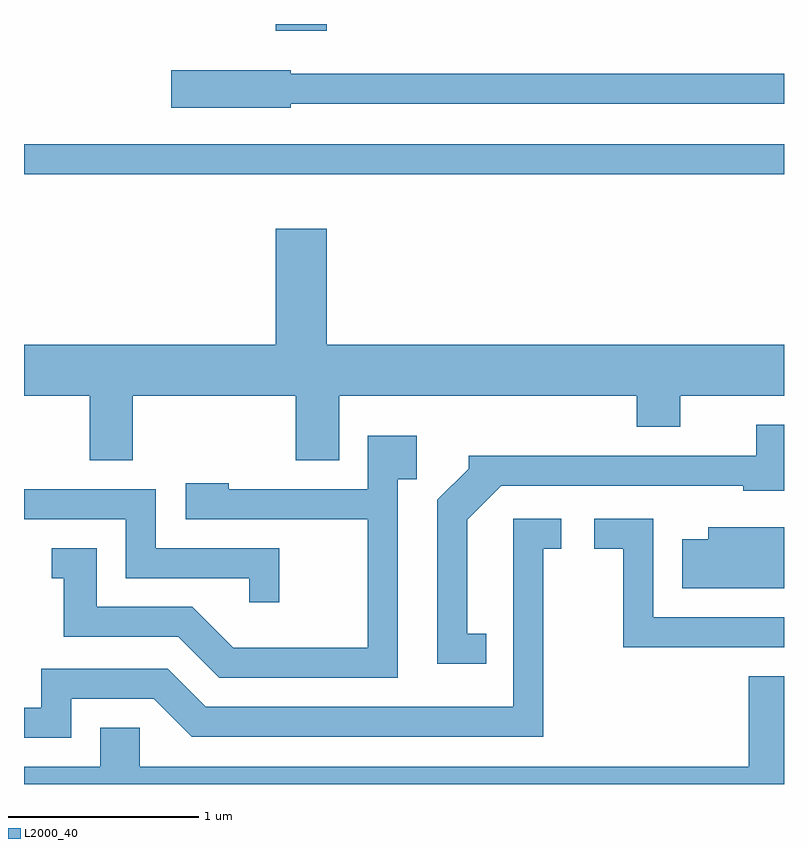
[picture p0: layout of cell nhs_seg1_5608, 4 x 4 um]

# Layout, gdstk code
import gdstk
lib = gdstk.Library(unit=1e-6, precision=1e-09)
def R(c, l, rs):  # rectangles x0, y0, x1, y1
    for r in rs: c.add(gdstk.rectangle(r[:2], r[2:], *l))
def P(c, l, *ps):  # polygons
    for p in ps: c.add(gdstk.Polygon(p, *l))
L2000_40 = (2000, 40)

nhs_seg1_5608 = lib.new_cell('nhs_seg1_5608')
R(nhs_seg1_5608, L2000_40, [(353.611,942.921,357.611,943.079), (354.936,943.676,355.204,943.712)])
P(nhs_seg1_5608, L2000_40, [(355.014,943.291),(357.611,943.291),(357.611,943.449),(355.014,943.449),(355.014,943.469),(354.386,943.469),(354.386,943.271),(355.014,943.271)],
  [(354.184,941.756),(355.041,941.756),(355.041,941.416),(355.269,941.416),(355.269,941.756),(356.836,941.756),(356.836,941.591),(357.064,941.591),(357.064,941.756),(357.611,941.756),(357.611,942.024),(355.204,942.024),(355.204,942.634),(354.936,942.634),(354.936,942.024),(353.611,942.024),(353.611,941.756),(353.956,941.756),(353.956,941.416),(354.184,941.416)],
  [(356.043,940.504),(355.944,940.504),(355.944,941.104),(356.122,941.281),(357.396,941.281),(357.396,941.256),(357.611,941.256),(357.611,941.604),(357.466,941.604),(357.466,941.439),(355.951,941.439),(355.951,941.372),(355.786,941.207),(355.786,940.346),(356.043,940.346)],
  [(355.579,941.316),(355.679,941.316),(355.679,941.544),(355.421,941.544),(355.421,941.264),(354.689,941.264),(354.689,941.294),(354.461,941.294),(354.461,941.106),(355.421,941.106),(355.421,940.429),(354.712,940.429),(354.497,940.644),(353.994,940.644),(353.994,940.954),(353.758,940.954),(353.758,940.796),(353.821,940.796),(353.821,940.486),(354.424,940.486),(354.639,940.271),(355.579,940.271)],
  [(354.954,940.954),(354.304,940.954),(354.304,941.264),(353.611,941.264),(353.611,941.106),(354.146,941.106),(354.146,940.796),(354.796,940.796),(354.796,940.668),(354.954,940.668)],
  [(353.859,940.161),(354.294,940.161),(354.494,939.961),(356.344,939.961),(356.344,940.951),(356.438,940.951),(356.438,941.109),(356.186,941.109),(356.186,940.119),(354.567,940.119),(354.367,940.319),(353.701,940.319),(353.701,940.114),(353.611,940.114),(353.611,939.956),(353.859,939.956)],
  [(357.611,940.589),(356.924,940.589),(356.924,941.109),(356.613,941.109),(356.613,940.951),(356.766,940.951),(356.766,940.431),(357.611,940.431)],
  [(357.611,941.064),(357.211,941.064),(357.211,940.999),(357.076,940.999),(357.076,940.741),(357.611,940.741)],
  [(357.611,940.279),(357.426,940.279),(357.426,939.804),(354.219,939.804),(354.219,940.009),(354.011,940.009),(354.011,939.804),(353.611,939.804),(353.611,939.712),(357.611,939.712)])

lib.write_gds('nhs_seg1_5608.gds')
